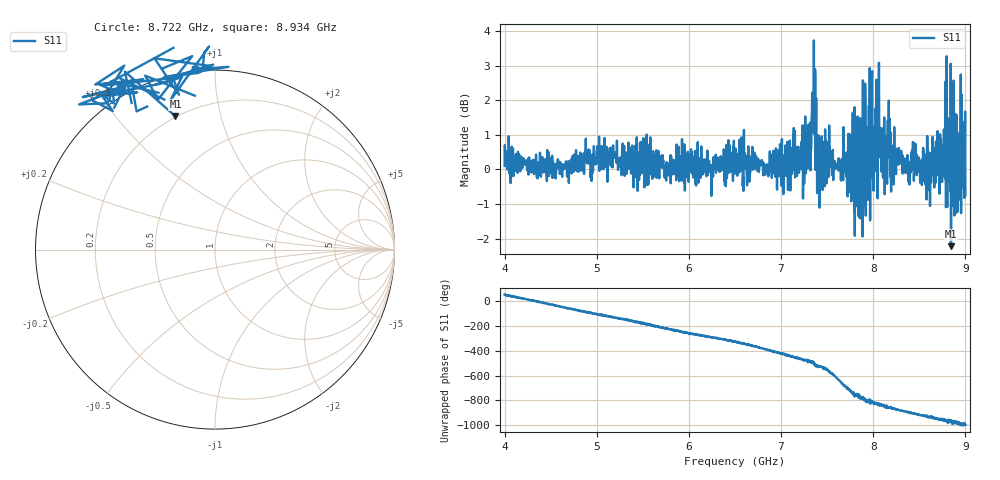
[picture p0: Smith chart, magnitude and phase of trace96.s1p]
! Created with skrf 1.8.0 (http://scikit-rf.org).
# Hz S RI R 50.0
!freq ReS11 ImS11
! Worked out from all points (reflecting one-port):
!   1601 points, 4 GHz to 9 GHz, reference 50 ohm
!   lowest |S11| = -2.2 dB at 8.844 GHz (marker M1), VSWR 7.87, Z = 9.81 + j36.4 ohm
!   phase of S11 starts at 53 deg and turns -1049 deg over the sweep
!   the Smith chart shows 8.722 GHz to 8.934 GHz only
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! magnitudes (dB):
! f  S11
! 4 GHz  0.1
! 4.625 GHz  -0.2
! 5.25 GHz  0.1
! 5.875 GHz  0.2
! 6.5 GHz  0.5
! 6.838 GHz  0.1
! 7.125 GHz  0.6
! 7.294 GHz  0.3
! 7.356 GHz  3.7
! 7.409 GHz  0.7
! 7.438 GHz  0.2
! 7.503 GHz  0.0
! 7.75 GHz  -0.7
! 7.788 GHz  0.9
! 7.853 GHz  0.7
! 7.956 GHz  -0.9
! 7.962 GHz  2.9
! 7.981 GHz  -0.2
! 8.05 GHz  0.8
! 8.128 GHz  0.4
! 8.162 GHz  0.5
! 8.375 GHz  0.1
! 8.603 GHz  -0.6
! 8.816 GHz  -0.2
! 8.844 GHz  -2.2
! 8.919 GHz  0.0
! 8.972 GHz  0.9
! 9 GHz  -0.8
